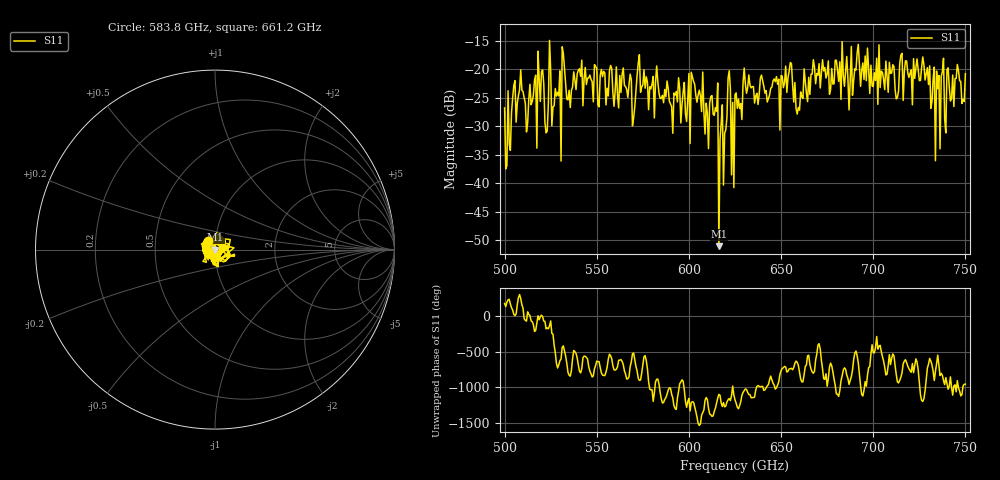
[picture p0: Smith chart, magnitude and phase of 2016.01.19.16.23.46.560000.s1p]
!Created with skrf (http://scikit-rf.org).
# GHz S RI R 50.0
!freq ReS11 ImS11
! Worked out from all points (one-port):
!   401 points, 500 GHz to 750 GHz, reference 50 ohm
!   lowest |S11| = -51.1 dB at 616.2 GHz (marker M1), VSWR 1.01, Z = 50.3 - j0.0966 ohm
!   |S11| at or under -10 dB: start of sweep to end of sweep
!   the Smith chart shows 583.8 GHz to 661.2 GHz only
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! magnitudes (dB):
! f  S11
! 500 GHz  -26.8
! 501.9 GHz  -23.8
! 508.8 GHz  -20.1
! 511.9 GHz  -31.0
! 519.4 GHz  -25.7
! 522.5 GHz  -31.2
! 531.2 GHz  -16.1
! 562.5 GHz  -21.1
! 593.8 GHz  -25.8
! 599.4 GHz  -25.3
! 602.5 GHz  -22.2
! 609.4 GHz  -26.0
! 614.4 GHz  -26.7
! 616.2 GHz  -51.1
! 617.5 GHz  -29.5
! 621.2 GHz  -21.6
! 625 GHz  -24.5
! 631.2 GHz  -24.3
! 656.2 GHz  -22.7
! 659.4 GHz  -26.7
! 667.5 GHz  -18.4
! 687.5 GHz  -22.0
! 691.2 GHz  -17.3
! 712.5 GHz  -25.2
! 718.8 GHz  -20.7
! 728.1 GHz  -21.9
! 735 GHz  -23.5
! 750 GHz  -20.8
